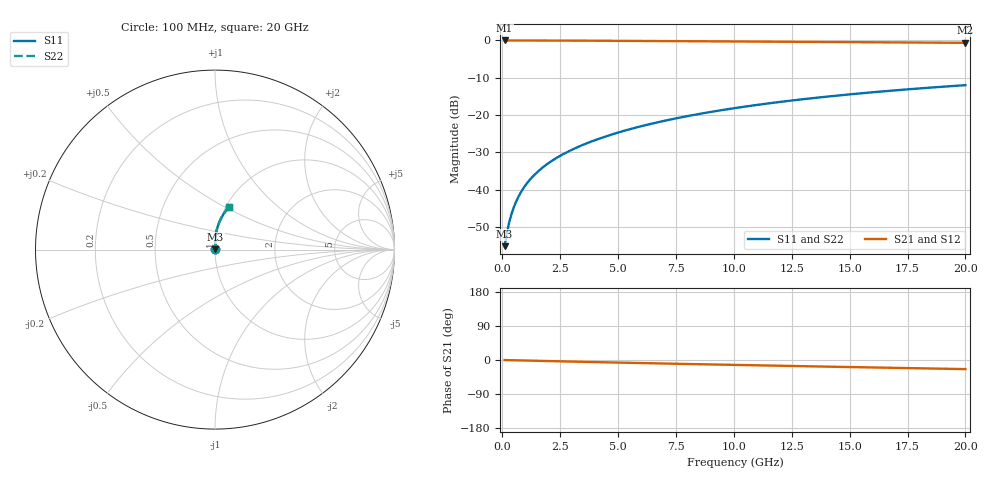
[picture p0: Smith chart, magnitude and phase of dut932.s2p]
! Touchstone file exported from HFSS 2024.1.0
!  File:  C:/UserFiles/LocalFiles/RDL_TSV_Batchsim/temp_RDL_bottom_932_1779941415.aedt
!  Generated:  12:12:40 PM May 28, 2026
!  Design:  RDL_bottom
!  Project:  temp_RDL_bottom_932_1779941415
!  Setup:  Setup1
!  Solution:  Sweep
! Variables:
!  dtsv = 10.80580581um
!  hbump = 3um
!  htsv = 54.21um
!  ldown = 320.43um
!  lrdl = 100um
!  p = 40
!  p1 = 51.07um
!  rhole = 1um
!  t = 450um
!  tdown = 4.82um
!  trdl = 3.915915916um
!  wdown = 21.37um
!  wrdl = 20um
# GHz S MA R 50.000000
! Terminal data exported
! Port[1] = RDL1_T1
! Port[2] = RDL1_T2
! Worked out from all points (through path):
!   200 points, 100 MHz to 20 GHz, reference 50 ohm
!   highest |S21| = -0.01 dB at 100 MHz (marker M1); lowest = -0.6 dB at 20 GHz (marker M2)
!   group delay of S21, straight-line fit = 3.3 ps
!   lowest |S11| = -55.1 dB at 100 MHz (marker M3), VSWR 1.00, Z = 50.1 + j0.122 ohm
!   |S11| at or under -10 dB: start of sweep to end of sweep
!   |S22| runs from -55.1 to -12.0 dB; largest |S21 - S12| = 2.2e-15
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0.1  0.001749 44.0  0.9987 -0.1  0.9987 -0.1  0.001749 44.0
! Gamma 0 0 0 0
! Port Impedance 50 0 50 0
0.2  0.002634 61.4  0.9987 -0.3  0.9987 -0.3  0.002635 61.4
0.3  0.003663 69.8  0.9986 -0.4  0.9986 -0.4  0.003663 69.8
0.4  0.004742 74.4  0.9985 -0.6  0.9985 -0.6  0.004741 74.4
0.5  0.005842 77.3  0.9984 -0.7  0.9984 -0.7  0.005841 77.3
0.6  0.006953 79.3  0.9983 -0.9  0.9983 -0.9  0.006952 79.3
0.8  0.00919 81.8  0.9981 -1.1  0.9981 -1.1  0.00919 81.8
1.1  0.01256 83.8  0.9978 -1.6  0.9978 -1.6  0.01256 83.8
1.5  0.01707 85.3  0.9972 -2.1  0.9972 -2.1  0.01707 85.3
1.8  0.02045 86.0  0.9967 -2.5  0.9967 -2.5  0.02045 86.0
2.1  0.02386 86.5  0.9961 -3.0  0.9961 -3.0  0.02386 86.5
2.7  0.03073 87.2  0.9947 -3.8  0.9947 -3.8  0.03073 87.2
3.5  0.04007 87.6  0.9925 -4.9  0.9925 -4.9  0.04007 87.6
4.2  0.04844 87.8  0.9903 -5.8  0.9903 -5.8  0.04845 87.8
5  0.05825 87.7  0.9875 -6.8  0.9875 -6.8  0.05825 87.7
6.8  0.08111 86.9  0.9808 -9.1  0.9808 -9.1  0.08111 86.9
8.4  0.1021 85.5  0.9747 -11.0  0.9747 -11.0  0.1021 85.5
10.1  0.1247 83.7  0.9681 -13.0  0.9681 -13.0  0.1247 83.7
11.7  0.1459 81.9  0.9619 -14.9  0.9619 -14.9  0.146 81.9
13.4  0.1684 79.8  0.9553 -16.8  0.9553 -16.8  0.1684 79.8
16.7  0.2109 75.7  0.9422 -20.5  0.9422 -20.5  0.2109 75.7
20  0.2515 71.7  0.9287 -24.1  0.9287 -24.1  0.2515 71.7
